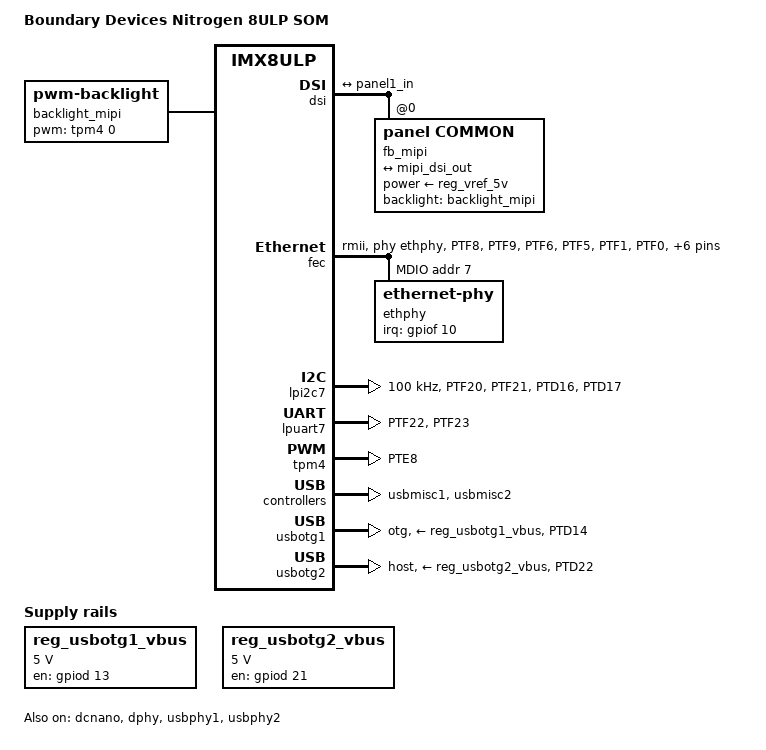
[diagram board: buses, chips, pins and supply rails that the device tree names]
// SPDX-License-Identifier: (GPL-2.0 OR MIT)
/*
 * Copyright 2023 Boundary Devices
 */

/dts-v1/;

#include "imx8ulp-nitrogen-som.dtsi"
#include "../panel-m101nwwb.dtsi"

/ {
	model = "Boundary Devices Nitrogen 8ULP SOM";
	compatible = "boundary,imx8ulp-nitrogen-som", "fsl,imx8ulp";

	aliases {
		backlight_mipi = &backlight_mipi;
		fb_mipi = &fb_mipi;
		lcdif = &dcnano;
		mipi = &fb_mipi;
		mipi_dsi = &dsi;
		mipi_dsi_bridge = &dsi;
		mipi_dsi_phy = &dphy;
		pwm_mipi = &tpm4;
		t_mipi = &t_mipi;
		ts_goodix = &ts_goodix;
		mipi_to_lvds = &mipi_to_lvds;
	};

	backlight_mipi: backlight-mipi {
		brightness-levels = <
				0  /*1  2  3  4  5  6  7  8  9
				10 11 12 13 14 15 16 17 18 19*/
				20 21 22 23 24 25 26 27 28 29
				30 31 32 33 34 35 36 37 38 39
				40 41 42 43 44 45 46 47 48 49
				50 51 52 53 54 55 56 57 58 59
				60 61 62 63 64 65 66 67 68 69
				70 71 72 73 74 75 76 77 78 79
				80 81 82 83 84 85 86 87 88 89
				90 91 92 93 94 95 96 97 98 99
				100
				>;
		compatible = "pwm-backlight";
		default-brightness-level = <81>;
		pwms = <&tpm4 0 50000 0>;
		status = "okay";
	};

	chosen {
		stdout-path = &lpuart7;
		bootargs = "console=ttyLP3,115200 earlycon";
	};

	reg_usbotg1_vbus: regulator-usbotg1-vbus {
		compatible = "regulator-fixed";
		pinctrl-names = "default";
		pinctrl-0 = <&pinctrl_reg_usbotg1_vbus>;
		regulator-name = "usb_otg1_vbus";
		regulator-min-microvolt = <5000000>;
		regulator-max-microvolt = <5000000>;
		gpio = <&gpiod 13 GPIO_ACTIVE_HIGH>;
		enable-active-high;
	};

	reg_usbotg2_vbus: regulator-usbotg2-vbus {
		compatible = "regulator-fixed";
		pinctrl-names = "default";
		pinctrl-0 = <&pinctrl_reg_usbotg2_vbus>;
		regulator-name = "usb_otg2_vbus";
		regulator-min-microvolt = <5000000>;
		regulator-max-microvolt = <5000000>;
		gpio = <&gpiod 21 GPIO_ACTIVE_HIGH>;
		enable-active-high;
	};
};

&dcnano {
	status = "okay";
};

&dphy {
	#clock-cells = <0>;
	status = "okay";
};

&dsi {
	status = "okay";
	#address-cells = <1>;
	#size-cells = <0>;

	fb_mipi: panel@0 {
		backlight = <&backlight_mipi>;
		bits-per-color = <8>;
		bridge-de-active = <0>;
		bus-format = "rgb888";
		clocks = <&dphy 0>,
			<&pcc5 IMX8ULP_CLK_DC_NANO>;
		clock-names = "mipi_clk", "pixel_clock";
		compatible = "panel,common";
		delay-power-up = <2>;
		dsi-format = "rgb888";
		dsi-lanes = <4>;
		mode-skip-eot;
		mode-video;
		mode-video-burst;
		panel-height-mm = <136>;
		panel-width-mm = <217>;
		power-supply = <&reg_vref_5v>;
		pinctrl-names = "sn65dsi83";
		pinctrl-0 = <&pinctrl_sn65dsi83>;
		sn65dsi83 = <&mipi_to_lvds>;
		reg = <0>;
		spwg;

		display-timings {
			t_mipi: t-dsi-default {
				/* m101nwwb by default */
				clock-frequency = <70000000>;
				hactive = <1280>;
				vactive = <800>;
				hback-porch = <5>;
				hfront-porch = <123>;
				vback-porch = <3>;
				vfront-porch = <24>;
				hsync-len = <1>;
				vsync-len = <1>;
				hsync-active = <0>;
				vsync-active = <0>;
				de-active = <1>;
			};
		};

		mipi_to_lvds: mipi-to-lvds {
			i2c-address = <0x2c>;
			i2c-bus = <&lpi2c5>;
			enable-gpios = <&gpiof 26 GPIO_ACTIVE_HIGH>;
			interrupts-extended = <&gpioe 9 IRQ_TYPE_LEVEL_HIGH>;
			status = "disabled";
		};

		port {
			panel1_in: endpoint {
				remote-endpoint = <&mipi_dsi_out>;
			};
		};
	};

	ports {
		port@1 {
			reg = <1>;

			mipi_dsi_out: endpoint {
				remote-endpoint = <&panel1_in>;
			};
		};
	};
};

&fec {
	pinctrl-names = "default";
	pinctrl-0 = <&pinctrl_fec>;
	clocks = <&cgc1 IMX8ULP_CLK_XBAR_DIVBUS>,
		 <&pcc4 IMX8ULP_CLK_ENET>,
		 <&cgc1 IMX8ULP_CLK_ENET_TS_SEL>;
	clock-names = "ipg", "ahb", "ptp";
	phy-mode = "rmii";
	phy-handle = <&ethphy>;
	status = "okay";
#if 0
	phy-reset-gpios = <&gpiof 11 GPIO_ACTIVE_LOW>;
#endif

	mdio {
		#address-cells = <1>;
		#size-cells = <0>;

		ethphy: ethernet-phy@7 {
			interrupts-extended = <&gpiof 10 IRQ_TYPE_LEVEL_LOW>;
			reg = <7>;
			micrel,led-mode = <1>;
		};
	};
};

&iomuxc1 {
	pinctrl-0 = <&pinctrl_hog_som>, <&pinctrl_hog_carrier>;

	pinctrl_fec: fecgrp {
		fsl,pins = <
			MX8ULP_PAD_PTF8__ENET0_MDIO	0x43
			MX8ULP_PAD_PTF9__ENET0_MDC	0x43
			MX8ULP_PAD_PTF6__ENET0_CRS_DV	0x43
			MX8ULP_PAD_PTF5__ENET0_RXER	0x43
			MX8ULP_PAD_PTF1__ENET0_RXD0	0x43
			MX8ULP_PAD_PTF0__ENET0_RXD1	0x43
			MX8ULP_PAD_PTF4__ENET0_TXEN	0x43
			MX8ULP_PAD_PTF3__ENET0_TXD0	0x43
			MX8ULP_PAD_PTF2__ENET0_TXD1	0x43
			MX8ULP_PAD_PTF7__ENET0_REFCLK	0x10043
			MX8ULP_PAD_PTF11__PTF11		0x7
			MX8ULP_PAD_PTF10__PTF10		0x7
		>;
	};

	pinctrl_hog_carrier: hog-carriergrp {
		fsl,pins = <
			/* J6 */
			MX8ULP_PAD_PTD15__PTD15		0x7
			MX8ULP_PAD_PTD18__PTD18		0x7
			MX8ULP_PAD_PTD19__PTD19		0x7
			MX8ULP_PAD_PTD20__PTD20		0x7
			MX8ULP_PAD_PTD23__PTD23		0x7
			MX8ULP_PAD_PTE10__PTE10		0x7
			MX8ULP_PAD_PTE23__PTE23		0x7
			MX8ULP_PAD_PTF12__PTF12		0x7
			MX8ULP_PAD_PTF13__PTF13		0x7
			MX8ULP_PAD_PTF18__PTF18		0x7
			MX8ULP_PAD_PTF19__PTF19		0x7
			MX8ULP_PAD_PTF25__PTF25		0x7
			/* M.2 */
			MX8ULP_PAD_PTE11__PTE11		0x7
			MX8ULP_PAD_PTE12__PTE12		0x7
			MX8ULP_PAD_PTE13__PTE13		0x7
			MX8ULP_PAD_PTE14__PTE14		0x7
			MX8ULP_PAD_PTE15__PTE15		0x7
			MX8ULP_PAD_PTE16__PTE16		0x7
			MX8ULP_PAD_PTE17__PTE17		0x7
			MX8ULP_PAD_PTE18__PTE18		0x7
			MX8ULP_PAD_PTE19__PTE19		0x7
			MX8ULP_PAD_PTE2__PTE2		0x7
			MX8ULP_PAD_PTE3__PTE3		0x7
			MX8ULP_PAD_PTE4__PTE4		0x7
			MX8ULP_PAD_PTE5__PTE5		0x7
			MX8ULP_PAD_PTF24__PTF24		0x7
			MX8ULP_PAD_PTF28__PTF28		0x7
		>;
	};

	/* CSI i2c bus*/
	pinctrl_lpi2c7: lpi2c7grp {
		fsl,pins = <
			MX8ULP_PAD_PTF20__LPI2C7_SCL	0x27
			MX8ULP_PAD_PTF21__LPI2C7_SDA	0x27
			MX8ULP_PAD_PTD16__PTD16		0x7
			MX8ULP_PAD_PTD17__PTD17		0x7
		>;
	};

	/* J11, M.2 connector */
	pinctrl_lpuart4: lpuart4grp {
		fsl,pins = <
			MX8ULP_PAD_PTE18__LPUART4_TX	0x03
			MX8ULP_PAD_PTE19__LPUART4_RX	0x03
			MX8ULP_PAD_PTE16__LPUART4_CTS_B	0x03
			MX8ULP_PAD_PTE17__LPUART4_RTS_B 0x03
		>;
	};

	/* J9 connector */
	pinctrl_lpuart7: lpuart7grp {
		fsl,pins = <
			MX8ULP_PAD_PTF22__LPUART7_TX	0x03
			MX8ULP_PAD_PTF23__LPUART7_RX	0x03
		>;
	};

	pinctrl_sn65dsi83: sn65dsi83grp {
		fsl,pins = <
			MX8ULP_PAD_PTF26__PTF26         0x02
			MX8ULP_PAD_PTE9__PTE9		0x7
		>;
	};

	pinctrl_reg_usbotg1_vbus: reg-usbotg1-vbusgrp {
		fsl,pins = <
			MX8ULP_PAD_PTD13__PTD13		0x03
		>;
	};

	pinctrl_reg_usbotg2_vbus: reg-usbotg2-vbusgrp {
		fsl,pins = <
			MX8ULP_PAD_PTD21__PTD21		0x03
		>;
	};

	pinctrl_tpm4: tpm4grp {
		fsl,pins = <
			MX8ULP_PAD_PTE8__TPM4_CH0	0x7
		>;
	};

	pinctrl_ts_goodix: ts-goodixgrp {
		fsl,pins = <
			MX8ULP_PAD_PTE22__PTE22		0x03
			MX8ULP_PAD_PTE7__PTE7		0x02
		>;
	};

	pinctrl_usbotg1: usbotg1grp {
		fsl,pins = <
			MX8ULP_PAD_PTD14__USB0_OC	0x10003
		>;
	};

	pinctrl_usbotg2: usbotg2grp {
		fsl,pins = <
			MX8ULP_PAD_PTD22__USB1_OC	0x10003
		>;
	};

	pinctrl_usdhc2: usdhc2grp {
		fsl,pins = <
			MX8ULP_PAD_PTE2__SDHC2_CLK	0x10042
			MX8ULP_PAD_PTE3__SDHC2_CMD	0x43
			MX8ULP_PAD_PTE1__SDHC2_D0	0x43
			MX8ULP_PAD_PTE0__SDHC2_D1	0x43
			MX8ULP_PAD_PTE5__SDHC2_D2	0x43
			MX8ULP_PAD_PTE4__SDHC2_D3	0x43
			MX8ULP_PAD_PTE12__SDHC2_RESET_B	0x43
		>;
	};
};

&lpi2c5 {
	ts_goodix: touchscreen@5d {
		compatible = "goodix,gt9271";
		reg = <0x5d>;
		pinctrl-names = "default";
		pinctrl-0 = <&pinctrl_ts_goodix>;
		interrupts-extended = <&gpioe 22 IRQ_TYPE_LEVEL_HIGH>;
		irq-gpios = <&gpioe 22 GPIO_ACTIVE_HIGH>;
		reset-gpios = <&gpioe 7 GPIO_ACTIVE_LOW>;
		esd-recovery-timeout-ms = <2000>;
		status = "disabled";
	};
};

&lpi2c7 {
	#address-cells = <1>;
	#size-cells = <0>;
	clock-frequency = <100000>;
	pinctrl-names = "default", "sleep";
	pinctrl-0 = <&pinctrl_lpi2c7>;
	pinctrl-1 = <&pinctrl_lpi2c7>;
	status = "okay";
};

&lpuart4 {
	/* J11, M.2 connector */
	pinctrl-names = "default", "sleep";
	pinctrl-0 = <&pinctrl_lpuart4>;
	pinctrl-1 = <&pinctrl_lpuart4>;
	status = "disabled";
};

&lpuart7 {
	/* J9 - console */
	/* Let probe happen earlier */
	/delete-property/ dmas;
	/delete-property/ dma-names;
	pinctrl-names = "default", "sleep";
	pinctrl-0 = <&pinctrl_lpuart7>;
	pinctrl-1 = <&pinctrl_lpuart7>;
	status = "okay";
};

&tpm4 {
	pinctrl-names = "default";
	pinctrl-0 = <&pinctrl_tpm4>;
	status = "okay";
};

&usbmisc1 {
	status = "okay";
};

&usbotg1 {
	dr_mode = "otg";
	over-current-active-low;
	pinctrl-names = "default", "sleep";
	pinctrl-0 = <&pinctrl_usbotg1>;
	pinctrl-1 = <&pinctrl_usbotg1>;
	power-active-high;
	status = "okay";
	vbus-supply = <&reg_usbotg1_vbus>;
};

&usbphy1 {
	fsl,tx-d-cal = <88>;
	status = "okay";
};

&usbmisc2 {
	status = "okay";
};

&usbotg2 {
	dr_mode = "host";
	over-current-active-low;
	pinctrl-names = "default", "sleep";
	pinctrl-0 = <&pinctrl_usbotg2>;
	pinctrl-1 = <&pinctrl_usbotg2>;
	power-active-high;
	status = "okay";
	vbus-supply = <&reg_usbotg2_vbus>;
};

&usbphy2 {
	fsl,tx-d-cal = <88>;
	status = "okay";
};

&usdhc2 {
	bus-width = <4>;
	non-removable;
	pinctrl-names = "default";
	pinctrl-0 = <&pinctrl_usdhc2>;
	status = "disabled";
};
